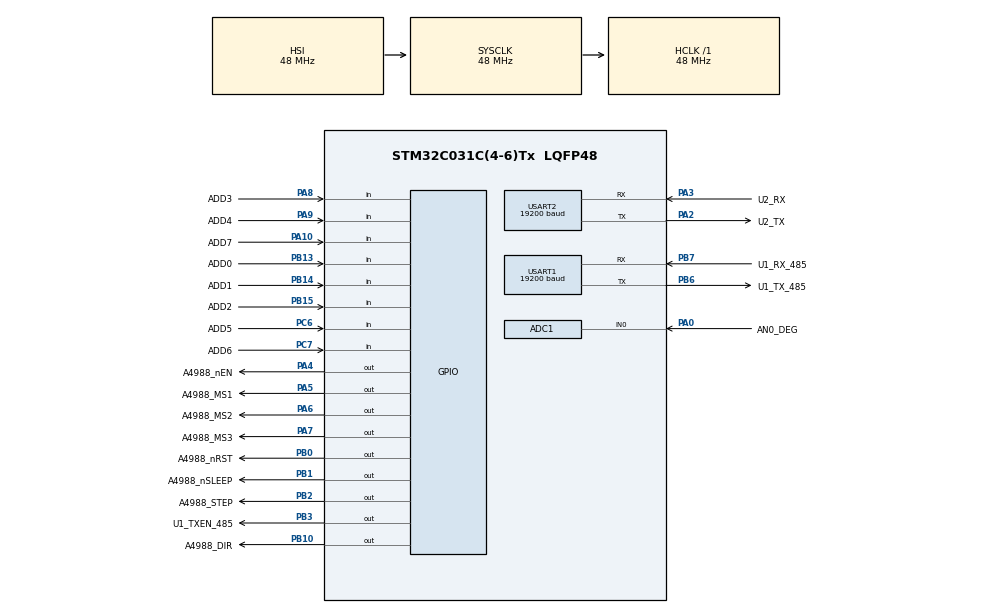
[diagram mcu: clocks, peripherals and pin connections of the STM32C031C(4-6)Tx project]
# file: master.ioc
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ADC1.Channel-1\#ChannelRegularConversion=ADC_CHANNEL_0
ADC1.Channel-2\#ChannelRegularConversion=ADC_CHANNEL_0
ADC1.Channel-3\#ChannelRegularConversion=ADC_CHANNEL_0
ADC1.NbrOfConversion=3
ADC1.NbrOfConversionFlag=1
ADC1.Rank-1\#ChannelRegularConversion=1
ADC1.Rank-2\#ChannelRegularConversion=2
ADC1.Rank-3\#ChannelRegularConversion=3
ADC1.SamplingTime-1\#ChannelRegularConversion=ADC_SAMPLINGTIME_COMMON_1
ADC1.SamplingTime-2\#ChannelRegularConversion=ADC_SAMPLINGTIME_COMMON_1
ADC1.SamplingTime-3\#ChannelRegularConversion=ADC_SAMPLINGTIME_COMMON_1
ADC1.SamplingTimeCommon1=ADC_SAMPLETIME_39CYCLES_5
ADC1.SamplingTimeCommon2=ADC_SAMPLETIME_39CYCLES_5
ADC1.SelectedChannel=ADC_CHANNEL_0
ADC1.master=1
Dma.ADC1.0.Direction=DMA_PERIPH_TO_MEMORY
Dma.ADC1.0.EventEnable=DISABLE
Dma.ADC1.0.Instance=DMA1_Channel1
Dma.ADC1.0.MemDataAlignment=DMA_MDATAALIGN_HALFWORD
Dma.ADC1.0.MemInc=DMA_MINC_ENABLE
Dma.ADC1.0.Mode=DMA_NORMAL
Dma.ADC1.0.PeriphDataAlignment=DMA_PDATAALIGN_HALFWORD
Dma.ADC1.0.PeriphInc=DMA_PINC_DISABLE
Dma.ADC1.0.Polarity=HAL_DMAMUX_REQ_GEN_RISING
Dma.ADC1.0.Priority=DMA_PRIORITY_LOW
Dma.ADC1.0.RequestNumber=1
Dma.ADC1.0.SignalID=NONE
Dma.ADC1.0.SyncEnable=DISABLE
Dma.ADC1.0.SyncPolarity=HAL_DMAMUX_SYNC_NO_EVENT
Dma.ADC1.0.SyncRequestNumber=1
Dma.ADC1.0.SyncSignalID=NONE
Dma.Request0=ADC1
Mcu.Family=STM32C0
Mcu.Name=STM32C031C(4-6)Tx
Mcu.Package=LQFP48
NVIC.DMA1_Channel1_IRQn=true\:0\:0\:false\:false\:true\:false\:true\:true
NVIC.USART1_IRQn=true\:0\:0\:false\:false\:true\:true\:true\:true
NVIC.USART2_IRQn=true\:0\:0\:false\:false\:true\:true\:true\:true
PA0.GPIO_Label=AN0_DEG
PA0.Mode=IN0
PA0.Signal=ADC1_IN0
PA10.GPIO_Label=ADD7
PA10.GPIO_Mode=GPIO_MODE_INPUT
PA10.GPIO_PuPd=GPIO_PULLDOWN
PA10.Signal=GPIO_Input
PA13.Mode=Serial_Wire
PA13.Signal=DEBUG_SWDIO
PA14-BOOT0.Mode=Serial_Wire
PA14-BOOT0.Signal=DEBUG_SWCLK
PA2.GPIO_Label=U2_TX
PA2.Mode=Asynchronous
PA2.Signal=USART2_TX
PA3.GPIO_Label=U2_RX
PA3.Mode=Asynchronous
PA3.Signal=USART2_RX
PA4.GPIO_Label=A4988_nEN
PA4.Signal=GPIO_Output
PA5.GPIO_Label=A4988_MS1
PA5.Signal=GPIO_Output
PA6.GPIO_Label=A4988_MS2
PA6.Signal=GPIO_Output
PA7.GPIO_Label=A4988_MS3
PA7.Signal=GPIO_Output
PA8.GPIO_Label=ADD3
PA8.GPIO_Mode=GPIO_MODE_INPUT
PA8.GPIO_PuPd=GPIO_PULLDOWN
PA8.Signal=GPIO_Input
PA9.GPIO_Label=ADD4
PA9.GPIO_Mode=GPIO_MODE_INPUT
PA9.GPIO_PuPd=GPIO_PULLDOWN
PA9.Signal=GPIO_Input
PB0.GPIO_Label=A4988_nRST
PB0.Signal=GPIO_Output
PB1.GPIO_Label=A4988_nSLEEP
PB1.Signal=GPIO_Output
PB10.GPIO_Label=A4988_DIR
PB10.Signal=GPIO_Output
PB13.GPIO_Label=ADD0
PB13.GPIO_Mode=GPIO_MODE_INPUT
PB13.GPIO_PuPd=GPIO_PULLDOWN
PB13.Signal=GPIO_Input
PB14.GPIO_Label=ADD1
PB14.GPIO_Mode=GPIO_MODE_INPUT
PB14.GPIO_PuPd=GPIO_PULLDOWN
PB14.Signal=GPIO_Input
PB15.GPIO_Label=ADD2
PB15.GPIO_Mode=GPIO_MODE_INPUT
PB15.GPIO_PuPd=GPIO_PULLDOWN
PB15.Signal=GPIO_Input
PB2.GPIO_Label=A4988_STEP
PB2.Signal=GPIO_Output
PB3.GPIO_Label=U1_TXEN_485
PB3.Signal=GPIO_Output
PB6.GPIO_Label=U1_TX_485
PB6.Mode=Asynchronous
PB6.Signal=USART1_TX
PB7.GPIO_Label=U1_RX_485
PB7.Mode=Asynchronous
PB7.Signal=USART1_RX
PC6.GPIO_Label=ADD5
PC6.GPIO_Mode=GPIO_MODE_INPUT
PC6.GPIO_PuPd=GPIO_PULLDOWN
PC6.Signal=GPIO_Input
PC7.GPIO_Label=ADD6
PC7.GPIO_Mode=GPIO_MODE_INPUT
PC7.GPIO_PuPd=GPIO_PULLDOWN
PC7.Signal=GPIO_Input
ProjectManager.HeapSize=0x200
ProjectManager.StackSize=0x400
ProjectManager.TargetToolchain=STM32CubeIDE
RCC.ADCCLockSelection=RCC_ADCCLKSOURCE_HSIKER
RCC.ADCFreq_Value=12000000
RCC.AHBFreq_Value=48000000
RCC.APB1CLKDivider=RCC_APB1_DIV2
RCC.CortexFreq_Value=48000000
RCC.EXTERNAL_CLOCK_VALUE=12288000
RCC.HCLKFreq_Value=48000000
RCC.HSE_VALUE=8000000
RCC.HSIKERCLKDivider=RCC_HSIKER_DIV4
RCC.HSISYSCLKDivider=RCC_HSI_DIV1
RCC.HSI_VALUE=48000000
RCC.LSE_VALUE=32768
RCC.SYSCLKFreq_VALUE=48000000
USART1.BaudRate=19200
USART1.FIFOMode=FIFOMODE_ENABLE
USART1.OverrunDisableParam=ADVFEATURE_OVERRUN_DISABLE
USART1.TXFIFOThreshold=TXFIFO_THRESHOLD_EMPTY
USART1.VirtualMode-Asynchronous=VM_ASYNC
USART2.BaudRate=19200
USART2.DMADisableonRxErrorParam=ADVFEATURE_DMA_DISABLEONRXERROR
USART2.OverrunDisableParam=ADVFEATURE_OVERRUN_DISABLE
USART2.VirtualMode-Asynchronous=VM_ASYNC
board=custom

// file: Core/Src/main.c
/* USER CODE BEGIN Header */
/**
  ******************************************************************************
  * @file           : main.c
  * @brief          : Main program body
  ******************************************************************************
  * @attention
  *
  * Copyright (c) 2024 STMicroelectronics.
  * All rights reserved.
  *
  * This software is licensed under terms that can be found in the LICENSE file
  * in the root directory of this software component.
  * If no LICENSE file comes with this software, it is provided AS-IS.
  *
  ******************************************************************************
  */
/* USER CODE END Header */
#include "main.h"

/* USER CODE BEGIN Includes */

#include <stdio.h>
#include <string.h>

/* USER CODE END Includes */

/* USER CODE BEGIN PM */

#define RX_BUFFER_SIZE 256
#define TX_BUFFER_SIZE 512
#define JSON_TOKEN_NOT_FOUND  0xFFFF
#define DEVICE_ID_BROADCAST    0x100

#define EN_TX_485() { HAL_GPIO_WritePin(U1_TXEN_485_GPIO_Port, U1_TXEN_485_Pin, 1); }
#define EN_RX_485() { HAL_GPIO_WritePin(U1_TXEN_485_GPIO_Port, U1_TXEN_485_Pin, 0); }

/* USER CODE END PM */

ADC_HandleTypeDef hadc1;
DMA_HandleTypeDef hdma_adc1;

UART_HandleTypeDef huart1;
UART_HandleTypeDef huart2;

/* USER CODE BEGIN PV */

uint8_t txBuffer[TX_BUFFER_SIZE];
volatile uint8_t rxIndex, rxRcvd, rxBuffer[RX_BUFFER_SIZE];

uint16_t anValues[3], angolo4096;

#define NO_COMMAND '.'
volatile uint8_t command;

/* USER CODE END PV */

void SystemClock_Config(void);
void PeriphCommonClock_Config(void);
static void MX_GPIO_Init(void);
static void MX_DMA_Init(void);
static void MX_USART1_UART_Init(void);
static void MX_ADC1_Init(void);
static void MX_USART2_UART_Init(void);

/* USER CODE BEGIN 0 */

long int ParserJSON(const char *token) {
	int i, j, ap, ch, done, trovato;

	long int retval = JSON_TOKEN_NOT_FOUND;

	/* il buffer è circolare, potrebbe trovarsi a cavalcioni,
	 * quindi prima cosa cerco la graffa aperta */
	for (i=0, ap=-1, ch=-1; i<RX_BUFFER_SIZE; i++) {
		if (rxBuffer[i] == '{') { ap = i; }
		if (rxBuffer[i] == '}') { ch = i; }
	}

	if ((ap >= 0) && (ch >= 0)) {

		/* ci sono tutte le graffe, cerco il token desiderato */
		for (i=ap+1, j=0, trovato=0, done=0; done==0; i++) {
			if (i >= RX_BUFFER_SIZE) { i = i % RX_BUFFER_SIZE; }

			if ((rxBuffer[i] == ':') && (token[j]==0)) { trovato=1; done=1; }
			else if (rxBuffer[i] == token[j]) { j++; }
			else { j=0; }

			if (rxBuffer[i] == '}') { done=1; }
		}

		if (trovato != 0) {
			/* trovato il token, tiro fuori il valore */
			retval = 0;
			for (done=0; done==0; i++) {
				if (i >= RX_BUFFER_SIZE) { i = i % RX_BUFFER_SIZE; }

				if ((rxBuffer[i] == ',') || (rxBuffer[i] == '}')) { done=1; }
				else if ((rxBuffer[i] >= '0') && (rxBuffer[i] <= '9')) {
					retval = (retval*10) + rxBuffer[i] - '0';
				}
			}
		}
	}

	return retval;
}

/* USER CODE END 0 */

int main(void)
{

  /* USER CODE BEGIN 1 */

	int device_id;

  /* USER CODE END 1 */

  /* MCU Configuration--------------------------------------------------------*/

  /* Reset of all peripherals, Initializes the Flash interface and the Systick. */
  HAL_Init();

  /* Configure the system clock */
  SystemClock_Config();

/* Configure the peripherals common clocks */
  PeriphCommonClock_Config();

  /* Initialize all configured peripherals */
  MX_GPIO_Init();
  MX_DMA_Init();
  MX_USART1_UART_Init();
  MX_ADC1_Init();
  MX_USART2_UART_Init();
  /* USER CODE BEGIN 2 */

  /* A4988 MS3, MS2, MS1 LOW  LOW  LOW  =   FULL STEP  */
  /* A4988 MS3, MS2, MS1 LOW  LOW  HIGH =   HALF STEP  */
  /* A4988 MS3, MS2, MS1 LOW  HIGH LOW  =  4 microstep */
  /* A4988 MS3, MS2, MS1 LOW  HIGH HIGH =  8 microstep */
  /* A4988 MS3, MS2, MS1 HIGH HIGH HIGH = 16 microstep */
  HAL_GPIO_WritePin(A4988_MS1_GPIO_Port, A4988_MS1_Pin, 0);
  HAL_GPIO_WritePin(A4988_MS2_GPIO_Port, A4988_MS2_Pin, 0);
  HAL_GPIO_WritePin(A4988_MS3_GPIO_Port, A4988_MS3_Pin, 0);

  /* imposto step e direzione */
  HAL_GPIO_WritePin(A4988_DIR_GPIO_Port,  A4988_DIR_Pin,  0);
  HAL_GPIO_WritePin(A4988_STEP_GPIO_Port, A4988_STEP_Pin, 0);

  /* abilito il driver */
  HAL_GPIO_WritePin(A4988_nRST_GPIO_Port,   A4988_nRST_Pin,   1);
  HAL_GPIO_WritePin(A4988_nSLEEP_GPIO_Port, A4988_nSLEEP_Pin, 1);
  HAL_GPIO_WritePin(A4988_nEN_GPIO_Port,    A4988_nEN_Pin,    0);

  /* lettura device-id */
  int temp;
  device_id = -1;
  do {
	  temp = device_id;
	  HAL_Delay(100);
	  device_id = HAL_GPIO_ReadPin(ADD7_GPIO_Port, ADD7_Pin) & 0x01;
	  device_id = device_id << 1;
	  device_id += HAL_GPIO_ReadPin(ADD6_GPIO_Port, ADD6_Pin) & 0x01;
	  device_id = device_id << 1;
	  device_id += HAL_GPIO_ReadPin(ADD5_GPIO_Port, ADD5_Pin) & 0x01;
	  device_id = device_id << 1;
	  device_id += HAL_GPIO_ReadPin(ADD4_GPIO_Port, ADD4_Pin) & 0x01;
	  device_id = device_id << 1;
	  device_id += HAL_GPIO_ReadPin(ADD3_GPIO_Port, ADD3_Pin) & 0x01;
	  device_id = device_id << 1;
	  device_id += HAL_GPIO_ReadPin(ADD2_GPIO_Port, ADD2_Pin) & 0x01;
	  device_id = device_id << 1;
	  device_id += HAL_GPIO_ReadPin(ADD1_GPIO_Port, ADD1_Pin) & 0x01;
	  device_id = device_id << 1;
	  device_id += HAL_GPIO_ReadPin(ADD0_GPIO_Port, ADD0_Pin) & 0x01;
  } while (temp != device_id);

  // attiva la trasmissione su RS485

  EN_TX_485();
  HAL_Delay(10);

  // attiva la ricezione su RS485
  //EN_RX_485();
  rxIndex = 0;
  HAL_UART_Receive_IT(&huart1, &rxRcvd, 1);

  // attiva la ricezione sulla seriale di servizio
  HAL_UART_Receive_IT(&huart2, &rxRcvd, 1);

  // Avvia la conversione
  if (HAL_ADC_Start_DMA(&hadc1, (uint32_t *)anValues, 3) != HAL_OK) { Error_Handler(); }

  // invio stringa di debug
  sprintf((char *)txBuffer, "\r\n" VERSION "\r\n");
  HAL_UART_Transmit(&huart2,  txBuffer, strlen((char *)txBuffer), 100);

  command = NO_COMMAND;

  /* USER CODE END 2 */

  /* Infinite loop */
  while (1)
  {

    /* USER CODE BEGIN 3 */

	  /* invio stringa per eseguire un comando */
	  static long int json1 = 1;         // id
	  static long int json2 = 1;         // dir
	  static long int json3 = 0;         // step
	  static long int json4 = 200 * 8;   // pulses per revolution
	  static long int json5 = 0;         // deg 4096 closed loop positioning
	  static long int json6 = 0;         // go
	  long int json7;
	  long int csum;

	  json7 = HAL_GetTick() & 0xffff; // genera numero pseudo casuale

	  // invio stringa a DRIVER

	  if (command == '1') {

		  // trasmissione debug string
		  sprintf((char *)txBuffer, "--> ");
		  HAL_UART_Transmit(&huart2,  txBuffer, strlen((char *)txBuffer), 100);

		  json2 = 1;     // direzione avanti
		  json3 = 1000;  // passi
		  csum = json1+json2+json3+json4+json7;
		  sprintf((char *)txBuffer, "     {id:%ld,dir:%ld,step:%ld,ppr:%ld,rnd:%ld,csum:%ld}"
 			 , json1 /* id */
			 , json2 /* dir */
			 , json3 /* step */
			 , json4 /* ppr */
			 , json7, csum);
		  EN_TX_485();   // IDLE VCC
		  // se Timeout != 0 la Transmit è bloccante
		  HAL_UART_Transmit(&huart1,  txBuffer, strlen((char *)txBuffer), 100);
		  EN_RX_485();
		  HAL_Delay(100);

		  // trasmissione debug string
		  HAL_UART_Transmit(&huart2,  txBuffer, strlen((char *)txBuffer), 100);
		  sprintf((char *)txBuffer, "\r\n<-- %s\r\n", rxBuffer);
		  HAL_UART_Transmit(&huart2,  txBuffer, strlen((char *)txBuffer), 100);
		  memset((uint8_t *)rxBuffer, 0, RX_BUFFER_SIZE);
		  rxIndex = 0;

		  command = NO_COMMAND;
	  }

	  if (command == '2') {

		  // trasmissione debug string
		  sprintf((char *)txBuffer, "--> ");
		  HAL_UART_Transmit(&huart2,  txBuffer, strlen((char *)txBuffer), 100);

		  json2 = 1;
		  json3 = 600;
		  csum = json1+json2+json3+json4+json7;
		  sprintf((char *)txBuffer, "     {id:%ld,dir:%ld,step:%ld,ppr:%ld,rnd:%ld,csum:%ld}"
 			 , json1 /* id */
			 , json2 /* dir */
			 , json3 /* step */
			 , json4 /* ppr */
			 , json7, csum);
		  EN_TX_485();   // IDLE VCC
		  // se Timeout != 0 la Transmit è bloccante
		  HAL_UART_Transmit(&huart1,  txBuffer, strlen((char *)txBuffer), 100);
		  EN_RX_485();
		  HAL_Delay(100);

		  // trasmissione debug string
		  HAL_UART_Transmit(&huart2,  txBuffer, strlen((char *)txBuffer), 100);
		  sprintf((char *)txBuffer, "\r\n<-- %s\r\n", rxBuffer);
		  HAL_UART_Transmit(&huart2,  txBuffer, strlen((char *)txBuffer), 100);
		  memset((uint8_t *)rxBuffer, 0, RX_BUFFER_SIZE);
		  rxIndex = 0;

		  command = NO_COMMAND;
	  }

	  if (command == '3') {

		  // trasmissione debug string
		  sprintf((char *)txBuffer, "--> ");
		  HAL_UART_Transmit(&huart2,  txBuffer, strlen((char *)txBuffer), 100);

		  json2 = 0;
		  json3 = 1000;
		  csum = json1+json2+json3+json4+json7;
		  sprintf((char *)txBuffer, "     {id:%ld,dir:%ld,step:%ld,ppr:%ld,rnd:%ld,csum:%ld}"
 			 , json1 /* id */
			 , json2 /* dir */
			 , json3 /* step */
			 , json4 /* ppr */
			 , json7, csum);
		  EN_TX_485();   // IDLE VCC
		  // se Timeout != 0 la Transmit è bloccante
		  HAL_UART_Transmit(&huart1,  txBuffer, strlen((char *)txBuffer), 100);
		  EN_RX_485();
		  HAL_Delay(100);

		  // trasmissione debug string
		  HAL_UART_Transmit(&huart2,  txBuffer, strlen((char *)txBuffer), 100);
		  sprintf((char *)txBuffer, "\r\n<-- %s\r\n", rxBuffer);
		  HAL_UART_Transmit(&huart2,  txBuffer, strlen((char *)txBuffer), 100);
		  memset((uint8_t *)rxBuffer, 0, RX_BUFFER_SIZE);
		  rxIndex = 0;

		  command = NO_COMMAND;
	  }

	  if (command == '4') {

		  // trasmissione debug string
		  sprintf((char *)txBuffer, "--> ");
		  HAL_UART_Transmit(&huart2,  txBuffer, strlen((char *)txBuffer), 100);

		  json2 = 0;
		  json3 = 600;
		  csum = json1+json2+json3+json4+json7;
		  sprintf((char *)txBuffer, "     {id:%ld,dir:%ld,step:%ld,ppr:%ld,rnd:%ld,csum:%ld}"
 			 , json1 /* id */
			 , json2 /* dir */
			 , json3 /* step */
			 , json4 /* ppr */
			 , json7, csum);
		  EN_TX_485();   // IDLE VCC
		  // se Timeout != 0 la Transmit è bloccante
		  HAL_UART_Transmit(&huart1,  txBuffer, strlen((char *)txBuffer), 100);
		  EN_RX_485();
		  HAL_Delay(100);

		  // trasmissione debug string
		  HAL_UART_Transmit(&huart2,  txBuffer, strlen((char *)txBuffer), 100);
		  sprintf((char *)txBuffer, "\r\n<-- %s\r\n", rxBuffer);
		  HAL_UART_Transmit(&huart2,  txBuffer, strlen((char *)txBuffer), 100);
		  memset((uint8_t *)rxBuffer, 0, RX_BUFFER_SIZE);
		  rxIndex = 0;

		  command = NO_COMMAND;
	  }

	  if (command == '5') {

	  	  json4 = 200;
  	  	  // trasmissione debug string
	  	  sprintf((char *)txBuffer, "Set 200 PPR\r\n");
	  	  HAL_UART_Transmit(&huart2,  txBuffer, strlen((char *)txBuffer), 100);

	  	  command = NO_COMMAND;
	  }
	  if (command == '6') {

	  	  json4 = 2*200;
  	  	  // trasmissione debug string
	  	  sprintf((char *)txBuffer, "Set 400 PPR\r\n");
	  	  HAL_UART_Transmit(&huart2,  txBuffer, strlen((char *)txBuffer), 100);

	  	  command = NO_COMMAND;
	  }
	  if (command == '7') {

	  	  json4 = 4*200;
  	  	  // trasmissione debug string
	  	  sprintf((char *)txBuffer, "Set 800 PPR\r\n");
	  	  HAL_UART_Transmit(&huart2,  txBuffer, strlen((char *)txBuffer), 100);

	  	  command = NO_COMMAND;
	  }
	  if (command == '8') {

	  	  json4 = 8*200;
  	  	  // trasmissione debug string
	  	  sprintf((char *)txBuffer, "Set 1600 PPR\r\n");
	  	  HAL_UART_Transmit(&huart2,  txBuffer, strlen((char *)txBuffer), 100);

	  	  command = NO_COMMAND;
	  }
	  if (command == '9') {

	  	  json4 = 16*200;
  	  	  // trasmissione debug string
	  	  sprintf((char *)txBuffer, "Set 3200 PPR\r\n");
	  	  HAL_UART_Transmit(&huart2,  txBuffer, strlen((char *)txBuffer), 100);

	  	  command = NO_COMMAND;
	  }

	  if (command == 'g') {

		  // trasmissione debug string
		  sprintf((char *)txBuffer, "--> ");
		  HAL_UART_Transmit(&huart2,  txBuffer, strlen((char *)txBuffer), 100);

		  json6 = 1;
		  csum = DEVICE_ID_BROADCAST+json6+json7;
		  sprintf((char *)txBuffer, "     {id:%d,go:%ld,rnd:%ld,csum:%ld}"
 			 , DEVICE_ID_BROADCAST /* broadcast */
			 , json6 /* go */
			 , json7, csum);
		  EN_TX_485();   // IDLE VCC
		  // se Timeout != 0 la Transmit è bloccante
		  HAL_UART_Transmit(&huart1,  txBuffer, strlen((char *)txBuffer), 100);
		  EN_RX_485();
		  HAL_Delay(100);

		  // trasmissione debug string
		  HAL_UART_Transmit(&huart2,  txBuffer, strlen((char *)txBuffer), 100);
		  sprintf((char *)txBuffer, "\r\n");
		  HAL_UART_Transmit(&huart2,  txBuffer, strlen((char *)txBuffer), 100);

		  command = NO_COMMAND;
	  }

	  if (command == 'w') {

	  		  // trasmissione debug string
	  		  sprintf((char *)txBuffer, "--> ");
	  		  HAL_UART_Transmit(&huart2,  txBuffer, strlen((char *)txBuffer), 100);

	  		  json5 = 0;     // deg 4096
	  		  csum = json1+json5+json7;
	  		  sprintf((char *)txBuffer, "     {id:%ld,deg:%ld,rnd:%ld,csum:%ld}"
	   			 , json1 /* id */
	  			 , json5 /* dir */
	  			 , json7, csum);
	  		  EN_TX_485();   // IDLE VCC
	  		  // se Timeout != 0 la Transmit è bloccante
	  		  HAL_UART_Transmit(&huart1,  txBuffer, strlen((char *)txBuffer), 100);
	  		  EN_RX_485();
	  		  HAL_Delay(100);

	  		  // trasmissione debug string
	  		  HAL_UART_Transmit(&huart2,  txBuffer, strlen((char *)txBuffer), 100);
	  		  sprintf((char *)txBuffer, "\r\n<-- %s\r\n", rxBuffer);
	  		  HAL_UART_Transmit(&huart2,  txBuffer, strlen((char *)txBuffer), 100);
	  		  memset((uint8_t *)rxBuffer, 0, RX_BUFFER_SIZE);
	  		  rxIndex = 0;

	  		  command = NO_COMMAND;
	  	  }
	  if (command == 'e') {

	  		  // trasmissione debug string
	  		  sprintf((char *)txBuffer, "--> ");
	  		  HAL_UART_Transmit(&huart2,  txBuffer, strlen((char *)txBuffer), 100);

	  		  json5 = 512;     // deg 4096
	  		  csum = json1+json5+json7;
	  		  sprintf((char *)txBuffer, "     {id:%ld,deg:%ld,rnd:%ld,csum:%ld}"
	   			 , json1 /* id */
	  			 , json5 /* dir */
	  			 , json7, csum);
	  		  EN_TX_485();   // IDLE VCC
	  		  // se Timeout != 0 la Transmit è bloccante
	  		  HAL_UART_Transmit(&huart1,  txBuffer, strlen((char *)txBuffer), 100);
	  		  EN_RX_485();
	  		  HAL_Delay(100);

	  		  // trasmissione debug string
	  		  HAL_UART_Transmit(&huart2,  txBuffer, strlen((char *)txBuffer), 100);
	  		  sprintf((char *)txBuffer, "\r\n<-- %s\r\n", rxBuffer);
	  		  HAL_UART_Transmit(&huart2,  txBuffer, strlen((char *)txBuffer), 100);
	  		  memset((uint8_t *)rxBuffer, 0, RX_BUFFER_SIZE);
	  		  rxIndex = 0;

	  		  command = NO_COMMAND;
	  	  }

	  if (command == 'd') {

	  		  // trasmissione debug string
	  		  sprintf((char *)txBuffer, "--> ");
	  		  HAL_UART_Transmit(&huart2,  txBuffer, strlen((char *)txBuffer), 100);

	  		  json5 = 1024;     // deg 4096
	  		  csum = json1+json5+json7;
	  		  sprintf((char *)txBuffer, "     {id:%ld,deg:%ld,rnd:%ld,csum:%ld}"
	   			 , json1 /* id */
	  			 , json5 /* dir */
	  			 , json7, csum);
	  		  EN_TX_485();   // IDLE VCC
	  		  // se Timeout != 0 la Transmit è bloccante
	  		  HAL_UART_Transmit(&huart1,  txBuffer, strlen((char *)txBuffer), 100);
	  		  EN_RX_485();
	  		  HAL_Delay(100);

	  		  // trasmissione debug string
	  		  HAL_UART_Transmit(&huart2,  txBuffer, strlen((char *)txBuffer), 100);
	  		  sprintf((char *)txBuffer, "\r\n<-- %s\r\n", rxBuffer);
	  		  HAL_UART_Transmit(&huart2,  txBuffer, strlen((char *)txBuffer), 100);
	  		  memset((uint8_t *)rxBuffer, 0, RX_BUFFER_SIZE);
	  		  rxIndex = 0;

	  		  command = NO_COMMAND;
	  	  }
	  if (command == 'c') {

	  		  // trasmissione debug string
	  		  sprintf((char *)txBuffer, "--> ");
	  		  HAL_UART_Transmit(&huart2,  txBuffer, strlen((char *)txBuffer), 100);

	  		  json5 = 1536;     // deg 4096
	  		  csum = json1+json5+json7;
	  		  sprintf((char *)txBuffer, "     {id:%ld,deg:%ld,rnd:%ld,csum:%ld}"
	   			 , json1 /* id */
	  			 , json5 /* dir */
	  			 , json7, csum);
	  		  EN_TX_485();   // IDLE VCC
	  		  // se Timeout != 0 la Transmit è bloccante
	  		  HAL_UART_Transmit(&huart1,  txBuffer, strlen((char *)txBuffer), 100);
	  		  EN_RX_485();
	  		  HAL_Delay(100);

	  		  // trasmissione debug string
	  		  HAL_UART_Transmit(&huart2,  txBuffer, strlen((char *)txBuffer), 100);
	  		  sprintf((char *)txBuffer, "\r\n<-- %s\r\n", rxBuffer);
	  		  HAL_UART_Transmit(&huart2,  txBuffer, strlen((char *)txBuffer), 100);
	  		  memset((uint8_t *)rxBuffer, 0, RX_BUFFER_SIZE);
	  		  rxIndex = 0;

	  		  command = NO_COMMAND;
	  	  }
	  if (command == 'x') {

	  		  // trasmissione debug string
	  		  sprintf((char *)txBuffer, "--> ");
	  		  HAL_UART_Transmit(&huart2,  txBuffer, strlen((char *)txBuffer), 100);

	  		  json5 = 2048;     // deg 4096
	  		  csum = json1+json5+json7;
	  		  sprintf((char *)txBuffer, "     {id:%ld,deg:%ld,rnd:%ld,csum:%ld}"
	   			 , json1 /* id */
	  			 , json5 /* dir */
	  			 , json7, csum);
	  		  EN_TX_485();   // IDLE VCC
	  		  // se Timeout != 0 la Transmit è bloccante
	  		  HAL_UART_Transmit(&huart1,  txBuffer, strlen((char *)txBuffer), 100);
	  		  EN_RX_485();
	  		  HAL_Delay(100);

	  		  // trasmissione debug string
	  		  HAL_UART_Transmit(&huart2,  txBuffer, strlen((char *)txBuffer), 100);
	  		  sprintf((char *)txBuffer, "\r\n<-- %s\r\n", rxBuffer);
	  		  HAL_UART_Transmit(&huart2,  txBuffer, strlen((char *)txBuffer), 100);
	  		  memset((uint8_t *)rxBuffer, 0, RX_BUFFER_SIZE);
	  		  rxIndex = 0;

	  		  command = NO_COMMAND;
	  	  }
	  if (command == 'z') {

	  		  // trasmissione debug string
	  		  sprintf((char *)txBuffer, "--> ");
	  		  HAL_UART_Transmit(&huart2,  txBuffer, strlen((char *)txBuffer), 100);

	  		  json5 = 2560;     // deg 4096
	  		  csum = json1+json5+json7;
	  		  sprintf((char *)txBuffer, "     {id:%ld,deg:%ld,rnd:%ld,csum:%ld}"
	   			 , json1 /* id */
	  			 , json5 /* dir */
	  			 , json7, csum);
	  		  EN_TX_485();   // IDLE VCC
	  		  // se Timeout != 0 la Transmit è bloccante
	  		  HAL_UART_Transmit(&huart1,  txBuffer, strlen((char *)txBuffer), 100);
	  		  EN_RX_485();
	  		  HAL_Delay(100);

	  		  // trasmissione debug string
	  		  HAL_UART_Transmit(&huart2,  txBuffer, strlen((char *)txBuffer), 100);
	  		  sprintf((char *)txBuffer, "\r\n<-- %s\r\n", rxBuffer);
	  		  HAL_UART_Transmit(&huart2,  txBuffer, strlen((char *)txBuffer), 100);
	  		  memset((uint8_t *)rxBuffer, 0, RX_BUFFER_SIZE);
	  		  rxIndex = 0;

	  		  command = NO_COMMAND;
	  	  }
	  if (command == 'a') {

	  		  // trasmissione debug string
	  		  sprintf((char *)txBuffer, "--> ");
	  		  HAL_UART_Transmit(&huart2,  txBuffer, strlen((char *)txBuffer), 100);

	  		  json5 = 3072;     // deg 4096
	  		  csum = json1+json5+json7;
	  		  sprintf((char *)txBuffer, "     {id:%ld,deg:%ld,rnd:%ld,csum:%ld}"
	   			 , json1 /* id */
	  			 , json5 /* dir */
	  			 , json7, csum);
	  		  EN_TX_485();   // IDLE VCC
	  		  // se Timeout != 0 la Transmit è bloccante
	  		  HAL_UART_Transmit(&huart1,  txBuffer, strlen((char *)txBuffer), 100);
	  		  EN_RX_485();
	  		  HAL_Delay(100);

	  		  // trasmissione debug string
	  		  HAL_UART_Transmit(&huart2,  txBuffer, strlen((char *)txBuffer), 100);
	  		  sprintf((char *)txBuffer, "\r\n<-- %s\r\n", rxBuffer);
	  		  HAL_UART_Transmit(&huart2,  txBuffer, strlen((char *)txBuffer), 100);
	  		  memset((uint8_t *)rxBuffer, 0, RX_BUFFER_SIZE);
	  		  rxIndex = 0;

	  		  command = NO_COMMAND;
	  	  }
	  if (command == 'q') {

	  		  // trasmissione debug string
	  		  sprintf((char *)txBuffer, "--> ");
	  		  HAL_UART_Transmit(&huart2,  txBuffer, strlen((char *)txBuffer), 100);

	  		  json5 = 3584;     // deg 4096
	  		  csum = json1+json5+json7;
	  		  sprintf((char *)txBuffer, "     {id:%ld,deg:%ld,rnd:%ld,csum:%ld}"
	   			 , json1 /* id */
	  			 , json5 /* dir */
	  			 , json7, csum);
	  		  EN_TX_485();   // IDLE VCC
	  		  // se Timeout != 0 la Transmit è bloccante
	  		  HAL_UART_Transmit(&huart1,  txBuffer, strlen((char *)txBuffer), 100);
	  		  EN_RX_485();
	  		  HAL_Delay(100);

	  		  // trasmissione debug string
	  		  HAL_UART_Transmit(&huart2,  txBuffer, strlen((char *)txBuffer), 100);
	  		  sprintf((char *)txBuffer, "\r\n<-- %s\r\n", rxBuffer);
	  		  HAL_UART_Transmit(&huart2,  txBuffer, strlen((char *)txBuffer), 100);
	  		  memset((uint8_t *)rxBuffer, 0, RX_BUFFER_SIZE);
	  		  rxIndex = 0;

	  		  command = NO_COMMAND;
	  	  }

  }
  /* USER CODE END 3 */
}

void SystemClock_Config(void)
{
  RCC_OscInitTypeDef RCC_OscInitStruct = {0};
  RCC_ClkInitTypeDef RCC_ClkInitStruct = {0};

  /** Initializes the RCC Oscillators according to the specified parameters
  * in the RCC_OscInitTypeDef structure.
  */
  RCC_OscInitStruct.OscillatorType = RCC_OSCILLATORTYPE_HSI;
  RCC_OscInitStruct.HSIState = RCC_HSI_ON;
  RCC_OscInitStruct.HSIDiv = RCC_HSI_DIV1;
  RCC_OscInitStruct.HSICalibrationValue = RCC_HSICALIBRATION_DEFAULT;
  if (HAL_RCC_OscConfig(&RCC_OscInitStruct) != HAL_OK)
  {
    Error_Handler();
  }

  /** Initializes the CPU, AHB and APB buses clocks
  */
  RCC_ClkInitStruct.ClockType = RCC_CLOCKTYPE_HCLK|RCC_CLOCKTYPE_SYSCLK
                              |RCC_CLOCKTYPE_PCLK1;
  RCC_ClkInitStruct.SYSCLKSource = RCC_SYSCLKSOURCE_HSI;
  RCC_ClkInitStruct.SYSCLKDivider = RCC_SYSCLK_DIV1;
  RCC_ClkInitStruct.AHBCLKDivider = RCC_HCLK_DIV1;
  RCC_ClkInitStruct.APB1CLKDivider = RCC_APB1_DIV2;

  if (HAL_RCC_ClockConfig(&RCC_ClkInitStruct, FLASH_LATENCY_1) != HAL_OK)
  {
    Error_Handler();
  }
}

void PeriphCommonClock_Config(void)
{
  RCC_PeriphCLKInitTypeDef PeriphClkInit = {0};

  /** Initializes the common peripherals clocks
  */
  PeriphClkInit.PeriphClockSelection = RCC_PERIPHCLK_HSIKER;
  PeriphClkInit.HSIKerClockDivider = RCC_HSIKER_DIV4;

  if (HAL_RCCEx_PeriphCLKConfig(&PeriphClkInit) != HAL_OK)
  {
    Error_Handler();
  }
}

static void MX_ADC1_Init(void)
{

  ADC_ChannelConfTypeDef sConfig = {0};

  /** Configure the global features of the ADC (Clock, Resolution, Data Alignment and number of conversion)
  */
  hadc1.Instance = ADC1;
  hadc1.Init.ClockPrescaler = ADC_CLOCK_SYNC_PCLK_DIV2;
  hadc1.Init.Resolution = ADC_RESOLUTION_12B;
  hadc1.Init.DataAlign = ADC_DATAALIGN_RIGHT;
  hadc1.Init.ScanConvMode = ADC_SCAN_ENABLE;
  hadc1.Init.EOCSelection = ADC_EOC_SINGLE_CONV;
  hadc1.Init.LowPowerAutoWait = DISABLE;
  hadc1.Init.LowPowerAutoPowerOff = DISABLE;
  hadc1.Init.ContinuousConvMode = DISABLE;
  hadc1.Init.NbrOfConversion = 3;
  hadc1.Init.DiscontinuousConvMode = DISABLE;
  hadc1.Init.ExternalTrigConv = ADC_SOFTWARE_START;
  hadc1.Init.ExternalTrigConvEdge = ADC_EXTERNALTRIGCONVEDGE_NONE;
  hadc1.Init.DMAContinuousRequests = DISABLE;
  hadc1.Init.Overrun = ADC_OVR_DATA_PRESERVED;
  hadc1.Init.SamplingTimeCommon1 = ADC_SAMPLETIME_39CYCLES_5;
  hadc1.Init.SamplingTimeCommon2 = ADC_SAMPLETIME_39CYCLES_5;
  hadc1.Init.OversamplingMode = DISABLE;
  hadc1.Init.TriggerFrequencyMode = ADC_TRIGGER_FREQ_HIGH;
  if (HAL_ADC_Init(&hadc1) != HAL_OK)
  {
    Error_Handler();
  }

  /** Configure Regular Channel
  */
  sConfig.Channel = ADC_CHANNEL_0;
  sConfig.Rank = ADC_REGULAR_RANK_1;
  sConfig.SamplingTime = ADC_SAMPLINGTIME_COMMON_1;
  if (HAL_ADC_ConfigChannel(&hadc1, &sConfig) != HAL_OK)
  {
    Error_Handler();
  }

  /** Configure Regular Channel
  */
  sConfig.Rank = ADC_REGULAR_RANK_2;
  if (HAL_ADC_ConfigChannel(&hadc1, &sConfig) != HAL_OK)
  {
    Error_Handler();
  }

  /** Configure Regular Channel
  */
  sConfig.Rank = ADC_REGULAR_RANK_3;
  if (HAL_ADC_ConfigChannel(&hadc1, &sConfig) != HAL_OK)
  {
    Error_Handler();
  }
  /* USER CODE BEGIN ADC1_Init 2 */

  /* Calibrazione ADC */
  HAL_ADCEx_Calibration_Start(&hadc1);

  /* USER CODE END ADC1_Init 2 */

}

static void MX_USART1_UART_Init(void)
{

  huart1.Instance = USART1;
  huart1.Init.BaudRate = 19200;
  huart1.Init.WordLength = UART_WORDLENGTH_8B;
  huart1.Init.StopBits = UART_STOPBITS_1;
  huart1.Init.Parity = UART_PARITY_NONE;
  huart1.Init.Mode = UART_MODE_TX_RX;
  huart1.Init.HwFlowCtl = UART_HWCONTROL_NONE;
  huart1.Init.OverSampling = UART_OVERSAMPLING_16;
  huart1.Init.OneBitSampling = UART_ONE_BIT_SAMPLE_DISABLE;
  huart1.Init.ClockPrescaler = UART_PRESCALER_DIV1;
  huart1.AdvancedInit.AdvFeatureInit = UART_ADVFEATURE_RXOVERRUNDISABLE_INIT;
  huart1.AdvancedInit.OverrunDisable = UART_ADVFEATURE_OVERRUN_DISABLE;
  if (HAL_UART_Init(&huart1) != HAL_OK)
  {
    Error_Handler();
  }
  if (HAL_UARTEx_SetTxFifoThreshold(&huart1, UART_TXFIFO_THRESHOLD_8_8) != HAL_OK)
  {
    Error_Handler();
  }
  if (HAL_UARTEx_SetRxFifoThreshold(&huart1, UART_RXFIFO_THRESHOLD_1_8) != HAL_OK)
  {
    Error_Handler();
  }
  if (HAL_UARTEx_EnableFifoMode(&huart1) != HAL_OK)
  {
    Error_Handler();
  }

}

static void MX_USART2_UART_Init(void)
{

  huart2.Instance = USART2;
  huart2.Init.BaudRate = 19200;
  huart2.Init.WordLength = UART_WORDLENGTH_8B;
  huart2.Init.StopBits = UART_STOPBITS_1;
  huart2.Init.Parity = UART_PARITY_NONE;
  huart2.Init.Mode = UART_MODE_TX_RX;
  huart2.Init.HwFlowCtl = UART_HWCONTROL_NONE;
  huart2.Init.OverSampling = UART_OVERSAMPLING_16;
  huart2.Init.OneBitSampling = UART_ONE_BIT_SAMPLE_DISABLE;
  huart2.Init.ClockPrescaler = UART_PRESCALER_DIV1;
  huart2.AdvancedInit.AdvFeatureInit = UART_ADVFEATURE_RXOVERRUNDISABLE_INIT|UART_ADVFEATURE_DMADISABLEONERROR_INIT;
  huart2.AdvancedInit.OverrunDisable = UART_ADVFEATURE_OVERRUN_DISABLE;
  huart2.AdvancedInit.DMADisableonRxError = UART_ADVFEATURE_DMA_DISABLEONRXERROR;
  if (HAL_UART_Init(&huart2) != HAL_OK)
  {
    Error_Handler();
  }

}

static void MX_DMA_Init(void)
{

  /* DMA controller clock enable */
  __HAL_RCC_DMA1_CLK_ENABLE();

  /* DMA interrupt init */
  /* DMA1_Channel1_IRQn interrupt configuration */
  HAL_NVIC_SetPriority(DMA1_Channel1_IRQn, 0, 0);
  HAL_NVIC_EnableIRQ(DMA1_Channel1_IRQn);

}

static void MX_GPIO_Init(void)
{
  GPIO_InitTypeDef GPIO_InitStruct = {0};

  /* GPIO Ports Clock Enable */
  __HAL_RCC_GPIOA_CLK_ENABLE();
  __HAL_RCC_GPIOB_CLK_ENABLE();
  __HAL_RCC_GPIOC_CLK_ENABLE();

  /*Configure GPIO pin Output Level */
  HAL_GPIO_WritePin(GPIOA, A4988_nEN_Pin|A4988_MS1_Pin|A4988_MS2_Pin|A4988_MS3_Pin, GPIO_PIN_RESET);

  /*Configure GPIO pin Output Level */
  HAL_GPIO_WritePin(GPIOB, A4988_nRST_Pin|A4988_nSLEEP_Pin|A4988_STEP_Pin|A4988_DIR_Pin
                          |U1_TXEN_485_Pin, GPIO_PIN_RESET);

  /*Configure GPIO pins : A4988_nEN_Pin A4988_MS1_Pin A4988_MS2_Pin A4988_MS3_Pin */
  GPIO_InitStruct.Pin = A4988_nEN_Pin|A4988_MS1_Pin|A4988_MS2_Pin|A4988_MS3_Pin;
  GPIO_InitStruct.Mode = GPIO_MODE_OUTPUT_PP;
  GPIO_InitStruct.Pull = GPIO_NOPULL;
  GPIO_InitStruct.Speed = GPIO_SPEED_FREQ_LOW;
  HAL_GPIO_Init(GPIOA, &GPIO_InitStruct);

  /*Configure GPIO pins : A4988_nRST_Pin A4988_nSLEEP_Pin A4988_STEP_Pin A4988_DIR_Pin
                           U1_TXEN_485_Pin */
  GPIO_InitStruct.Pin = A4988_nRST_Pin|A4988_nSLEEP_Pin|A4988_STEP_Pin|A4988_DIR_Pin
                          |U1_TXEN_485_Pin;
  GPIO_InitStruct.Mode = GPIO_MODE_OUTPUT_PP;
  GPIO_InitStruct.Pull = GPIO_NOPULL;
  GPIO_InitStruct.Speed = GPIO_SPEED_FREQ_LOW;
  HAL_GPIO_Init(GPIOB, &GPIO_InitStruct);

  /*Configure GPIO pins : ADD0_Pin ADD1_Pin ADD2_Pin */
  GPIO_InitStruct.Pin = ADD0_Pin|ADD1_Pin|ADD2_Pin;
  GPIO_InitStruct.Mode = GPIO_MODE_INPUT;
  GPIO_InitStruct.Pull = GPIO_PULLDOWN;
  HAL_GPIO_Init(GPIOB, &GPIO_InitStruct);

  /*Configure GPIO pins : ADD3_Pin ADD4_Pin ADD7_Pin */
  GPIO_InitStruct.Pin = ADD3_Pin|ADD4_Pin|ADD7_Pin;
  GPIO_InitStruct.Mode = GPIO_MODE_INPUT;
  GPIO_InitStruct.Pull = GPIO_PULLDOWN;
  HAL_GPIO_Init(GPIOA, &GPIO_InitStruct);

  /*Configure GPIO pins : ADD5_Pin ADD6_Pin */
  GPIO_InitStruct.Pin = ADD5_Pin|ADD6_Pin;
  GPIO_InitStruct.Mode = GPIO_MODE_INPUT;
  GPIO_InitStruct.Pull = GPIO_PULLDOWN;
  HAL_GPIO_Init(GPIOC, &GPIO_InitStruct);

}

/* USER CODE BEGIN 4 */

void HAL_UART_RxCpltCallback(UART_HandleTypeDef *huart)
{
    if (huart == &huart1)
    {
    	rxBuffer[rxIndex] = rxRcvd;

        // il carattere dovrebbe essere già stato letto da HAL in rxBuffer[rxIndex]
    	if (rxBuffer[0] == '{') {

    		/* è partito un JSON */
    		rxIndex ++;
    		if (rxIndex < RX_BUFFER_SIZE) {
    			/* termino sempre la stringa  per sicurezza */
    			rxBuffer[rxIndex] = '\0';
    		}
    		else {
    			/* si è riempito il buffer, non va bene, resetto tutto e riparto */
    			memset((uint8_t *)rxBuffer, 0, RX_BUFFER_SIZE);
    			rxIndex = 0;
    		}
    	}
    	else {
    	    rxIndex = 0;
    	}

        // riattivo la ricezione
    	HAL_UART_Receive_IT(&huart1, &rxRcvd, 1);
    }

    if (huart == &huart2)
    {
    	command = rxRcvd;

        // riattivo la ricezione
    	HAL_UART_Receive_IT(&huart2, &rxRcvd, 1);
    }
}

/* USER CODE END 4 */

void Error_Handler(void)
{
  /* USER CODE BEGIN Error_Handler_Debug */
  /* User can add his own implementation to report the HAL error return state */
  __disable_irq();

  sprintf((char *)txBuffer, "Error! %s %d\n\r", __FILE__,__LINE__);
  HAL_UART_Transmit(&huart2,  txBuffer, strlen((char *)txBuffer), 100);

  while (1)
  {
  }
  /* USER CODE END Error_Handler_Debug */
}
